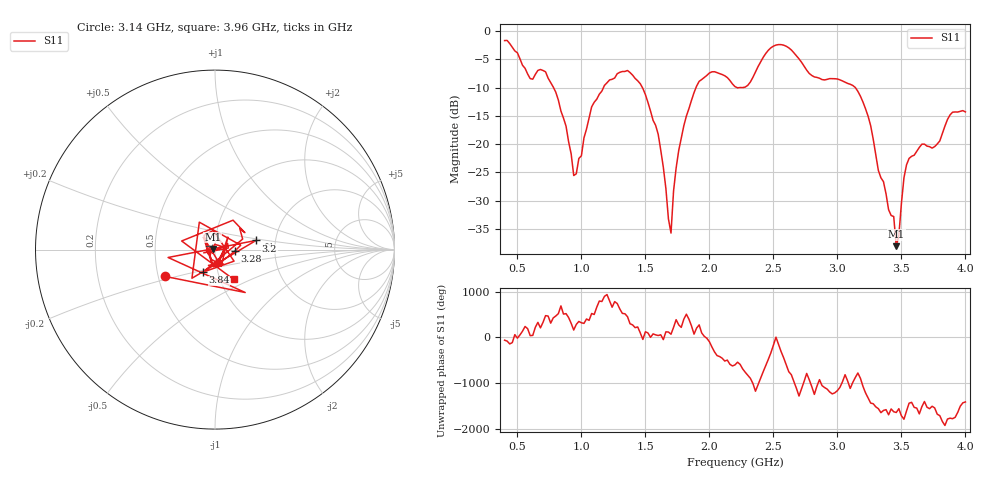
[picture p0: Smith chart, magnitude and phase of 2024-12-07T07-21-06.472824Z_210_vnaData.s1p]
!Created with skrf (http://scikit-rf.org).
# Hz S RI R 50.0
!freq ReS11 ImS11
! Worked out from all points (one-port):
!   181 points, 400 MHz to 4 GHz, reference 50 ohm
!   lowest |S11| = -38.1 dB at 3.46 GHz (marker M1), VSWR 1.03, Z = 48.8 + j0.334 ohm
!   |S11| at or under -10 dB: 781.9 MHz to 1.173 GHz (390.6 MHz wide, 40 % of centre); 1.476 GHz to 1.896 GHz (419.3 MHz wide, 24.9 % of centre); 3.14 GHz to end of sweep (the widest 3 of 4)
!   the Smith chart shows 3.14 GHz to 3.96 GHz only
!   S11 on the Smith chart (normalised r, x): 3.14 GHz: 0.54, -0.18; 3.2 GHz: 1.58, +0.17; 3.28 GHz: 1.25, -0.02; 3.84 GHz: 0.85, -0.22; 3.96 GHz: 1.16, -0.40
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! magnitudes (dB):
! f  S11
! 400 MHz  -1.7
! 600 MHz  -8.4
! 720 MHz  -7.2
! 860 MHz  -15.4
! 940 MHz  -25.6
! 960 MHz  -25.3
! 1.08 GHz  -13.4
! 1.3 GHz  -7.3
! 1.46 GHz  -9.3
! 1.58 GHz  -16.7
! 1.7 GHz  -35.8
! 1.72 GHz  -28.3
! 1.76 GHz  -21.2
! 1.92 GHz  -8.9
! 2.2 GHz  -9.8
! 2.5 GHz  -2.7
! 2.66 GHz  -3.9
! 3.1 GHz  -9.4
! 3.14 GHz  -10.0
! 3.2 GHz  -12.6
! 3.28 GHz  -19.2
! 3.44 GHz  -32.8
! 3.46 GHz  -38.1
! 3.52 GHz  -26.0
! 3.56 GHz  -22.5
! 3.84 GHz  -16.8
! 3.96 GHz  -14.2
! 4 GHz  -14.3
